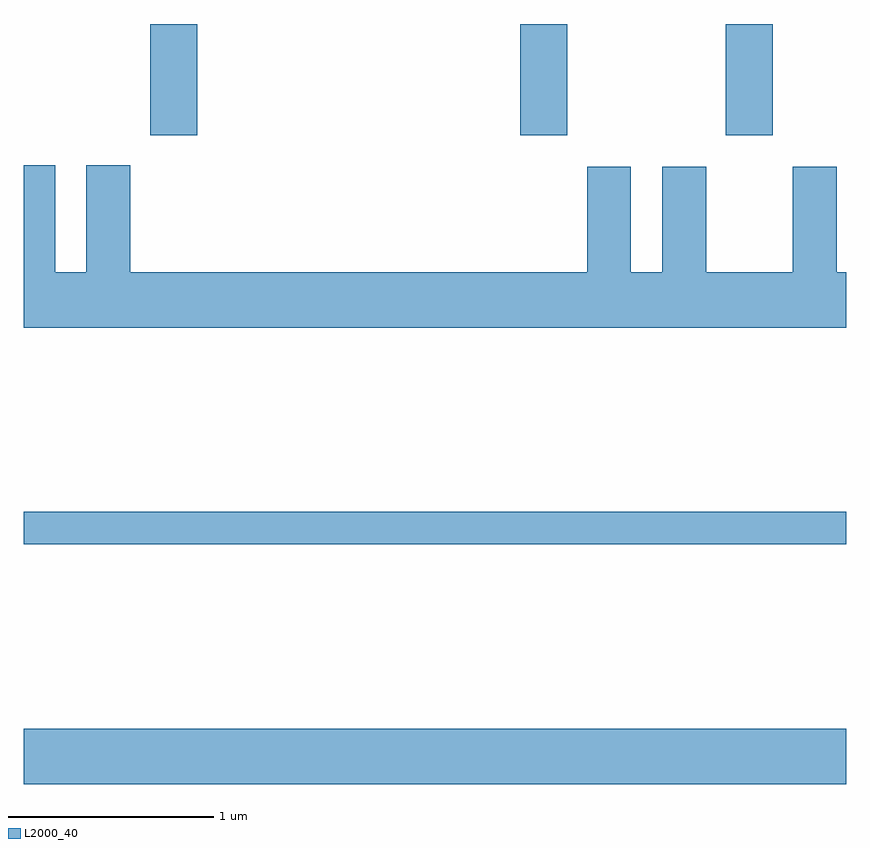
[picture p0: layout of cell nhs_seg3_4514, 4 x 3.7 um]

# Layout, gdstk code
import gdstk
lib = gdstk.Library(unit=1e-6, precision=1e-09)
def R(c, l, rs):  # rectangles x0, y0, x1, y1
    for r in rs: c.add(gdstk.rectangle(r[:2], r[2:], *l))
def P(c, l, *ps):  # polygons
    for p in ps: c.add(gdstk.Polygon(p, *l))
L2000_40 = (2000, 40)

nhs_seg3_4514 = lib.new_cell('nhs_seg3_4514')
R(nhs_seg3_4514, L2000_40, [(317.611,1168.196,321.611,1168.464), (317.611,1169.361,321.611,1169.519), (318.226,1171.351,318.454,1171.892), (320.026,1171.351,320.254,1171.892), (321.026,1171.351,321.254,1171.892)])
P(nhs_seg3_4514, L2000_40, [(321.611,1170.684),(321.564,1170.684),(321.564,1171.199),(321.351,1171.199),(321.351,1170.684),(320.929,1170.684),(320.929,1171.199),(320.716,1171.199),(320.716,1170.684),(320.564,1170.684),(320.564,1171.199),(320.351,1171.199),(320.351,1170.684),(318.129,1170.684),(318.129,1171.204),(317.916,1171.204),(317.916,1170.684),(317.764,1170.684),(317.764,1171.204),(317.611,1171.204),(317.611,1170.416),(321.611,1170.416)])

lib.write_gds('nhs_seg3_4514.gds')
